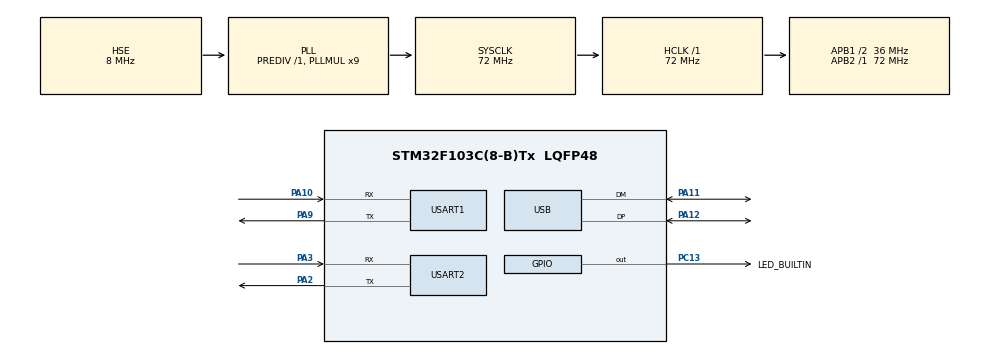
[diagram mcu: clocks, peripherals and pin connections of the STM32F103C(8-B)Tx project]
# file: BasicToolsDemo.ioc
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Dma.Request0=USART1_TX
Dma.Request1=USART1_RX
Dma.Request2=USART2_TX
Dma.Request3=USART2_RX
Dma.USART1_RX.1.Direction=DMA_PERIPH_TO_MEMORY
Dma.USART1_RX.1.Instance=DMA1_Channel5
Dma.USART1_RX.1.MemDataAlignment=DMA_MDATAALIGN_BYTE
Dma.USART1_RX.1.MemInc=DMA_MINC_ENABLE
Dma.USART1_RX.1.Mode=DMA_CIRCULAR
Dma.USART1_RX.1.PeriphDataAlignment=DMA_PDATAALIGN_BYTE
Dma.USART1_RX.1.PeriphInc=DMA_PINC_DISABLE
Dma.USART1_RX.1.Priority=DMA_PRIORITY_LOW
Dma.USART1_TX.0.Direction=DMA_MEMORY_TO_PERIPH
Dma.USART1_TX.0.Instance=DMA1_Channel4
Dma.USART1_TX.0.MemDataAlignment=DMA_MDATAALIGN_BYTE
Dma.USART1_TX.0.MemInc=DMA_MINC_ENABLE
Dma.USART1_TX.0.Mode=DMA_CIRCULAR
Dma.USART1_TX.0.PeriphDataAlignment=DMA_PDATAALIGN_BYTE
Dma.USART1_TX.0.PeriphInc=DMA_PINC_DISABLE
Dma.USART1_TX.0.Priority=DMA_PRIORITY_LOW
Dma.USART2_RX.3.Direction=DMA_PERIPH_TO_MEMORY
Dma.USART2_RX.3.Instance=DMA1_Channel6
Dma.USART2_RX.3.MemDataAlignment=DMA_MDATAALIGN_BYTE
Dma.USART2_RX.3.MemInc=DMA_MINC_ENABLE
Dma.USART2_RX.3.Mode=DMA_CIRCULAR
Dma.USART2_RX.3.PeriphDataAlignment=DMA_PDATAALIGN_BYTE
Dma.USART2_RX.3.PeriphInc=DMA_PINC_DISABLE
Dma.USART2_RX.3.Priority=DMA_PRIORITY_LOW
Dma.USART2_TX.2.Direction=DMA_MEMORY_TO_PERIPH
Dma.USART2_TX.2.Instance=DMA1_Channel7
Dma.USART2_TX.2.MemDataAlignment=DMA_MDATAALIGN_BYTE
Dma.USART2_TX.2.MemInc=DMA_MINC_ENABLE
Dma.USART2_TX.2.Mode=DMA_CIRCULAR
Dma.USART2_TX.2.PeriphDataAlignment=DMA_PDATAALIGN_BYTE
Dma.USART2_TX.2.PeriphInc=DMA_PINC_DISABLE
Dma.USART2_TX.2.Priority=DMA_PRIORITY_LOW
Mcu.Family=STM32F1
Mcu.Name=STM32F103C(8-B)Tx
Mcu.Package=LQFP48
NVIC.DMA1_Channel4_IRQn=true\:0\:0\:false\:false\:true\:false\:true\:true
NVIC.DMA1_Channel5_IRQn=true\:0\:0\:false\:false\:true\:false\:true\:true
NVIC.DMA1_Channel6_IRQn=true\:0\:0\:false\:false\:true\:false\:true\:true
NVIC.DMA1_Channel7_IRQn=true\:0\:0\:false\:false\:true\:false\:true\:true
NVIC.PriorityGroup=NVIC_PRIORITYGROUP_4
NVIC.TIM1_CC_IRQn=true\:0\:0\:false\:false\:true\:true\:true\:true
NVIC.TIM1_UP_IRQn=true\:0\:0\:false\:false\:true\:true\:true\:true
NVIC.USART1_IRQn=true\:0\:0\:false\:false\:true\:true\:true\:true
NVIC.USART2_IRQn=true\:0\:0\:false\:false\:true\:true\:true\:true
NVIC.USB_LP_CAN1_RX0_IRQn=true\:0\:0\:false\:false\:true\:false\:true\:true
PA10.Mode=Asynchronous
PA10.Signal=USART1_RX
PA11.Mode=Device
PA11.Signal=USB_DM
PA12.Mode=Device
PA12.Signal=USB_DP
PA13.Mode=Serial_Wire
PA13.Signal=SYS_JTMS-SWDIO
PA14.Mode=Serial_Wire
PA14.Signal=SYS_JTCK-SWCLK
PA2.Mode=Asynchronous
PA2.Signal=USART2_TX
PA3.Mode=Asynchronous
PA3.Signal=USART2_RX
PA9.Mode=Asynchronous
PA9.Signal=USART1_TX
PC13-TAMPER-RTC.GPIO_Label=LED_BUILTIN
PC13-TAMPER-RTC.Signal=GPIO_Output
PD0-OSC_IN.Mode=HSE-External-Oscillator
PD0-OSC_IN.Signal=RCC_OSC_IN
PD1-OSC_OUT.Mode=HSE-External-Oscillator
PD1-OSC_OUT.Signal=RCC_OSC_OUT
ProjectManager.HeapSize=0x200
ProjectManager.StackSize=0x400
ProjectManager.TargetToolchain=STM32CubeIDE
RCC.AHBFreq_Value=72000000
RCC.APB1CLKDivider=RCC_HCLK_DIV2
RCC.APB1Freq_Value=36000000
RCC.APB1TimFreq_Value=72000000
RCC.APB2Freq_Value=72000000
RCC.APB2TimFreq_Value=72000000
RCC.HCLKFreq_Value=72000000
RCC.PLLMUL=RCC_PLL_MUL9
RCC.PLLSourceVirtual=RCC_PLLSOURCE_HSE
RCC.SYSCLKFreq_VALUE=72000000
RCC.SYSCLKSource=RCC_SYSCLKSOURCE_PLLCLK
RCC.USBFreq_Value=48000000
RCC.USBPrescaler=RCC_USBCLKSOURCE_PLL_DIV1_5
TIM1.Channel-Output\ Compare1\ No\ Output=TIM_CHANNEL_1
TIM1.Period=1200-1
TIM1.Prescaler=3-1
TIM1.RepetitionCounter=20-1
USART1.VirtualMode=VM_ASYNC
USART2.VirtualMode=VM_ASYNC
USB_DEVICE.CLASS_NAME_FS=CDC
USB_DEVICE.VirtualMode=Cdc
USB_DEVICE.VirtualModeFS=Cdc_FS
VP_TIM1_VS_ClockSourceINT.Mode=Internal
VP_TIM1_VS_no_output1.Mode=Output Compare1 No Output
VP_USB_DEVICE_VS_USB_DEVICE_CDC_FS.Mode=CDC_FS
board=custom

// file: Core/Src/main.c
/* USER CODE BEGIN Header */
/**
  ******************************************************************************
  * @file           : main.c
  * @brief          : Main program body
  ******************************************************************************
  * @attention
  *
  * Copyright (c) 2025 STMicroelectronics.
  * All rights reserved.
  *
  * This software is licensed under terms that can be found in the LICENSE file
  * in the root directory of this software component.
  * If no LICENSE file comes with this software, it is provided AS-IS.
  *
  ******************************************************************************
  */
/* USER CODE END Header */
#include "main.h"
#include "usb_device.h"

/* USER CODE BEGIN Includes */
#include "usbd_cdc_if.h"
#include "usbd_def.h"
#include <stdio.h>
#include <stdarg.h>
#include "string.h"
#include "BasicTools.h"
/* USER CODE END Includes */

/* USER CODE BEGIN PD */
#define MAX_BUFFER_SIZE 512
/* USER CODE END PD */

TIM_HandleTypeDef htim1;

UART_HandleTypeDef huart1;
UART_HandleTypeDef huart2;
DMA_HandleTypeDef hdma_usart1_tx;
DMA_HandleTypeDef hdma_usart1_rx;
DMA_HandleTypeDef hdma_usart2_tx;
DMA_HandleTypeDef hdma_usart2_rx;

/* USER CODE BEGIN PV */
// USB CDC
//    Extern needed
extern USBD_HandleTypeDef hUsbDeviceFS;
//    Buffers needed
uint8_t usb_cdc_tx_data[USB_CDC_BUFFER_SIZE];           // Circular buffer for TX data
uint8_t usb_cdc_rx_buffer[USB_CDC_BUFFER_SIZE];         // Buffer for RX data
uint8_t usb_cdc_tx_buffer[USB_CDC_TX_PACKET_SIZE];      // Buffer for USB packet transmission

// UART1 buffers
uint8_t uart1_rx_buf[UART1_RX_DMA_SIZE];
uint8_t uart1_tx_buf[UART1_TX_DMA_SIZE];
uint8_t uart1_data_buffer[UART1_TX_Buffer_SIZE];

// UART2 buffers
uint8_t uart2_rx_buf[UART2_RX_DMA_SIZE];
uint8_t uart2_tx_buf[UART2_TX_DMA_SIZE];
uint8_t uart2_data_buffer[UART2_TX_Buffer_SIZE];
uint32_t Led_Blink_Delay = 1000;
/* USER CODE END PV */

void SystemClock_Config(void);
static void MX_GPIO_Init(void);
static void MX_DMA_Init(void);
static void MX_TIM1_Init(void);
static void MX_USART1_UART_Init(void);
static void MX_USART2_UART_Init(void);

/* USER CODE BEGIN 0 */
void InitializeUARTs(void)
{
  // UART1 Setup
  UART_Register(&huart1,
               uart1_rx_buf, UART1_RX_DMA_SIZE,
               uart1_tx_buf, uart1_data_buffer,
               UART1_TX_DMA_SIZE, UART1_TX_Buffer_SIZE);
  HAL_UART_Receive_DMA(&huart1, uart1_rx_buf, UART1_RX_DMA_SIZE);	// Once started, will keep listening into buffer

  // UART2 Setup
  UART_Register(&huart2,
               uart2_rx_buf, UART2_RX_DMA_SIZE,
               uart2_tx_buf, uart2_data_buffer,
               UART2_TX_DMA_SIZE, UART2_TX_Buffer_SIZE);
  HAL_UART_Receive_DMA(&huart2, uart2_rx_buf, UART2_RX_DMA_SIZE);	// Once started, will keep listening into buffer

  // USB CDC UART Setup
  USB_CDC_Init(&hUsbDeviceFS, usb_cdc_tx_data, USB_CDC_BUFFER_SIZE,
              usb_cdc_rx_buffer, USB_CDC_BUFFER_SIZE, usb_cdc_tx_buffer);
}
/* USER CODE END 0 */

int main(void)
{

  /* MCU Configuration--------------------------------------------------------*/

  /* Reset of all peripherals, Initializes the Flash interface and the Systick. */
  HAL_Init();

  /* Configure the system clock */
  SystemClock_Config();

  /* Initialize all configured peripherals */
  MX_GPIO_Init();
  MX_DMA_Init();
  MX_TIM1_Init();
  MX_USART1_UART_Init();
  MX_USB_DEVICE_Init();
  MX_USART2_UART_Init();
  /* USER CODE BEGIN 2 */
  HAL_TIM_Base_Start_IT(&htim1);									// 1ms interrupt
  HAL_TIM_OC_Start_IT(&htim1,TIM_CHANNEL_1);						// 50us interrupt
  InitializeUARTs();
  SerialPrintf(&huart1,"%d :Hello World\r\n", millis());
  SerialPrintf(&huart2,"%d :Hello World\r\n", micros());
  /* USER CODE END 2 */

  /* Infinite loop */
  /* USER CODE BEGIN WHILE */
  /* Initialize variables for USB communication */
  uint16_t usb_incoming_byte_count = 0;

  /* Initialize variables for UART1 communication with receive timeout */
  uint16_t uart1_incoming_byte_count = 0;
  uint32_t uart1_rx_time_elapsed = 0;
  uint16_t uart1_last_count = 0;

  /* Calculated UART idle timeout (time for 2 bytes at 115200 baud) */
  const uint32_t UART_IDLE_TIMEOUT_US = 1000000 * 20 / huart1.Init.BaudRate; /* ~173 microseconds for 115200*/

  while (1)
  {
    /* ---- USB CDC Serial Handling ---- */
	usb_incoming_byte_count = USBSerialAvailable();
	if(usb_incoming_byte_count)
	{
	  uint8_t incoming_data[MAX_BUFFER_SIZE] = {0};

	  /* Read USB data and echo timestamp with data */
	  USBSerialPrintf("%dus -> %d byte received", micros(), usb_incoming_byte_count);
	  USBSerialReadBuf(incoming_data, usb_incoming_byte_count);

	  /* Forward USB data to UART1 with timestamp */
	  SerialPrintf(&huart1, "%dus -> ", micros());
	  SerialWriteBuf(&huart1, incoming_data, usb_incoming_byte_count);

	  /* Forward USB data to UART2 with timestamp */
	  SerialPrintf(&huart2, "%dms -> ", millis());
	  SerialWriteBuf(&huart2, incoming_data, usb_incoming_byte_count);
	}

	/* ---- UART1 Serial Handling with Timeout ---- */
	uart1_incoming_byte_count = SerialAvailable(&huart1);
	if(uart1_incoming_byte_count)
	{
	  if(uart1_rx_time_elapsed)
	  {
	    /* Check if we've waited long enough for complete message */
	    if(micros() > (uart1_rx_time_elapsed + UART_IDLE_TIMEOUT_US))
	    {
	      uint8_t incoming_data[MAX_BUFFER_SIZE] = {0};

	      /* Read UART1 data and echo timestamp with data */
	      SerialPrintf(&huart1, "%dus -> %d byte received", micros(), uart1_incoming_byte_count);
	      SerialReadBuf(&huart1, incoming_data, uart1_incoming_byte_count);

	      /* Forward UART1 data to USB with timestamp */
	      USBSerialPrintf("%dus -> ", micros());
	      USBSerialWriteBuf(incoming_data, uart1_incoming_byte_count);

	      /* Forward UART1 data to UART2 with timestamp */
	      SerialPrintf(&huart2, "%dms -> ", millis());
	      SerialWriteBuf(&huart2, incoming_data, uart1_incoming_byte_count);

	      /* Reset timeout after processing */
	      uart1_rx_time_elapsed = 0;
	    }
	    else
	    {
	      /* If data is still arriving, reset the timeout */
	      if(uart1_last_count != uart1_incoming_byte_count)
	      {
	        uart1_rx_time_elapsed = micros();
	        uart1_last_count = uart1_incoming_byte_count;
	      }
	    }
	  }
	  else
	  {
	    /* First byte received, start the timeout */
	    uart1_rx_time_elapsed = micros();
	    uart1_last_count = uart1_incoming_byte_count;
	  }
	}
    /* USER CODE END WHILE */

  }
}

void SystemClock_Config(void)
{
  RCC_OscInitTypeDef RCC_OscInitStruct = {0};
  RCC_ClkInitTypeDef RCC_ClkInitStruct = {0};
  RCC_PeriphCLKInitTypeDef PeriphClkInit = {0};

  /** Initializes the RCC Oscillators according to the specified parameters
  * in the RCC_OscInitTypeDef structure.
  */
  RCC_OscInitStruct.OscillatorType = RCC_OSCILLATORTYPE_HSE;
  RCC_OscInitStruct.HSEState = RCC_HSE_ON;
  RCC_OscInitStruct.HSEPredivValue = RCC_HSE_PREDIV_DIV1;
  RCC_OscInitStruct.HSIState = RCC_HSI_ON;
  RCC_OscInitStruct.PLL.PLLState = RCC_PLL_ON;
  RCC_OscInitStruct.PLL.PLLSource = RCC_PLLSOURCE_HSE;
  RCC_OscInitStruct.PLL.PLLMUL = RCC_PLL_MUL9;
  if (HAL_RCC_OscConfig(&RCC_OscInitStruct) != HAL_OK)
  {
    Error_Handler();
  }

  /** Initializes the CPU, AHB and APB buses clocks
  */
  RCC_ClkInitStruct.ClockType = RCC_CLOCKTYPE_HCLK|RCC_CLOCKTYPE_SYSCLK
                              |RCC_CLOCKTYPE_PCLK1|RCC_CLOCKTYPE_PCLK2;
  RCC_ClkInitStruct.SYSCLKSource = RCC_SYSCLKSOURCE_PLLCLK;
  RCC_ClkInitStruct.AHBCLKDivider = RCC_SYSCLK_DIV1;
  RCC_ClkInitStruct.APB1CLKDivider = RCC_HCLK_DIV2;
  RCC_ClkInitStruct.APB2CLKDivider = RCC_HCLK_DIV1;

  if (HAL_RCC_ClockConfig(&RCC_ClkInitStruct, FLASH_LATENCY_2) != HAL_OK)
  {
    Error_Handler();
  }
  PeriphClkInit.PeriphClockSelection = RCC_PERIPHCLK_USB;
  PeriphClkInit.UsbClockSelection = RCC_USBCLKSOURCE_PLL_DIV1_5;
  if (HAL_RCCEx_PeriphCLKConfig(&PeriphClkInit) != HAL_OK)
  {
    Error_Handler();
  }
}

static void MX_TIM1_Init(void)
{

  TIM_ClockConfigTypeDef sClockSourceConfig = {0};
  TIM_MasterConfigTypeDef sMasterConfig = {0};
  TIM_OC_InitTypeDef sConfigOC = {0};
  TIM_BreakDeadTimeConfigTypeDef sBreakDeadTimeConfig = {0};

  htim1.Instance = TIM1;
  htim1.Init.Prescaler = 3-1;
  htim1.Init.CounterMode = TIM_COUNTERMODE_UP;
  htim1.Init.Period = 1200-1;
  htim1.Init.ClockDivision = TIM_CLOCKDIVISION_DIV1;
  htim1.Init.RepetitionCounter = 20-1;
  htim1.Init.AutoReloadPreload = TIM_AUTORELOAD_PRELOAD_DISABLE;
  if (HAL_TIM_Base_Init(&htim1) != HAL_OK)
  {
    Error_Handler();
  }
  sClockSourceConfig.ClockSource = TIM_CLOCKSOURCE_INTERNAL;
  if (HAL_TIM_ConfigClockSource(&htim1, &sClockSourceConfig) != HAL_OK)
  {
    Error_Handler();
  }
  if (HAL_TIM_OC_Init(&htim1) != HAL_OK)
  {
    Error_Handler();
  }
  sMasterConfig.MasterOutputTrigger = TIM_TRGO_RESET;
  sMasterConfig.MasterSlaveMode = TIM_MASTERSLAVEMODE_DISABLE;
  if (HAL_TIMEx_MasterConfigSynchronization(&htim1, &sMasterConfig) != HAL_OK)
  {
    Error_Handler();
  }
  sConfigOC.OCMode = TIM_OCMODE_TIMING;
  sConfigOC.Pulse = 0;
  sConfigOC.OCPolarity = TIM_OCPOLARITY_HIGH;
  sConfigOC.OCNPolarity = TIM_OCNPOLARITY_HIGH;
  sConfigOC.OCFastMode = TIM_OCFAST_DISABLE;
  sConfigOC.OCIdleState = TIM_OCIDLESTATE_RESET;
  sConfigOC.OCNIdleState = TIM_OCNIDLESTATE_RESET;
  if (HAL_TIM_OC_ConfigChannel(&htim1, &sConfigOC, TIM_CHANNEL_1) != HAL_OK)
  {
    Error_Handler();
  }
  sBreakDeadTimeConfig.OffStateRunMode = TIM_OSSR_DISABLE;
  sBreakDeadTimeConfig.OffStateIDLEMode = TIM_OSSI_DISABLE;
  sBreakDeadTimeConfig.LockLevel = TIM_LOCKLEVEL_OFF;
  sBreakDeadTimeConfig.DeadTime = 0;
  sBreakDeadTimeConfig.BreakState = TIM_BREAK_DISABLE;
  sBreakDeadTimeConfig.BreakPolarity = TIM_BREAKPOLARITY_HIGH;
  sBreakDeadTimeConfig.AutomaticOutput = TIM_AUTOMATICOUTPUT_DISABLE;
  if (HAL_TIMEx_ConfigBreakDeadTime(&htim1, &sBreakDeadTimeConfig) != HAL_OK)
  {
    Error_Handler();
  }

}

static void MX_USART1_UART_Init(void)
{

  huart1.Instance = USART1;
  huart1.Init.BaudRate = 115200;
  huart1.Init.WordLength = UART_WORDLENGTH_8B;
  huart1.Init.StopBits = UART_STOPBITS_1;
  huart1.Init.Parity = UART_PARITY_NONE;
  huart1.Init.Mode = UART_MODE_TX_RX;
  huart1.Init.HwFlowCtl = UART_HWCONTROL_NONE;
  huart1.Init.OverSampling = UART_OVERSAMPLING_16;
  if (HAL_UART_Init(&huart1) != HAL_OK)
  {
    Error_Handler();
  }

}

static void MX_USART2_UART_Init(void)
{

  huart2.Instance = USART2;
  huart2.Init.BaudRate = 115200;
  huart2.Init.WordLength = UART_WORDLENGTH_8B;
  huart2.Init.StopBits = UART_STOPBITS_1;
  huart2.Init.Parity = UART_PARITY_NONE;
  huart2.Init.Mode = UART_MODE_TX_RX;
  huart2.Init.HwFlowCtl = UART_HWCONTROL_NONE;
  huart2.Init.OverSampling = UART_OVERSAMPLING_16;
  if (HAL_UART_Init(&huart2) != HAL_OK)
  {
    Error_Handler();
  }

}

static void MX_DMA_Init(void)
{

  /* DMA controller clock enable */
  __HAL_RCC_DMA1_CLK_ENABLE();

  /* DMA interrupt init */
  /* DMA1_Channel4_IRQn interrupt configuration */
  HAL_NVIC_SetPriority(DMA1_Channel4_IRQn, 0, 0);
  HAL_NVIC_EnableIRQ(DMA1_Channel4_IRQn);
  /* DMA1_Channel5_IRQn interrupt configuration */
  HAL_NVIC_SetPriority(DMA1_Channel5_IRQn, 0, 0);
  HAL_NVIC_EnableIRQ(DMA1_Channel5_IRQn);
  /* DMA1_Channel6_IRQn interrupt configuration */
  HAL_NVIC_SetPriority(DMA1_Channel6_IRQn, 0, 0);
  HAL_NVIC_EnableIRQ(DMA1_Channel6_IRQn);
  /* DMA1_Channel7_IRQn interrupt configuration */
  HAL_NVIC_SetPriority(DMA1_Channel7_IRQn, 0, 0);
  HAL_NVIC_EnableIRQ(DMA1_Channel7_IRQn);

}

static void MX_GPIO_Init(void)
{
  GPIO_InitTypeDef GPIO_InitStruct = {0};

  /* GPIO Ports Clock Enable */
  __HAL_RCC_GPIOC_CLK_ENABLE();
  __HAL_RCC_GPIOD_CLK_ENABLE();
  __HAL_RCC_GPIOA_CLK_ENABLE();

  /*Configure GPIO pin Output Level */
  HAL_GPIO_WritePin(LED_BUILTIN_GPIO_Port, LED_BUILTIN_Pin, GPIO_PIN_RESET);

  /*Configure GPIO pin : LED_BUILTIN_Pin */
  GPIO_InitStruct.Pin = LED_BUILTIN_Pin;
  GPIO_InitStruct.Mode = GPIO_MODE_OUTPUT_PP;
  GPIO_InitStruct.Pull = GPIO_NOPULL;
  GPIO_InitStruct.Speed = GPIO_SPEED_FREQ_LOW;
  HAL_GPIO_Init(LED_BUILTIN_GPIO_Port, &GPIO_InitStruct);

}

/* USER CODE BEGIN 4 */
void HAL_TIM_PeriodElapsedCallback(TIM_HandleTypeDef *htim)
{
  if (htim == &htim1 ) // Trigger every (Check IOC Timer1 setting)
  {					   // 3*1200*20/72000000 = 1ms
	Led_Blink_Delay -= 1;
	if(Led_Blink_Delay == 0)
	{
		Led_Blink_Delay = 1000;
		HAL_GPIO_TogglePin(LED_BUILTIN_GPIO_Port, LED_BUILTIN_Pin);
		//UARTprintf(&huart1, "Waiting for USB Serial input at micros() = %d; millis() = %d;\r\n" ,micros(),HAL_GetTick());
	}
  }
}

void HAL_TIM_OC_DelayElapsedCallback(TIM_HandleTypeDef *htim)
{
	if (htim == &htim1 )
	{
		if(htim->Channel == HAL_TIM_ACTIVE_CHANNEL_1)	// Activated every 50us.
		{   											// 3*1200/72000000 = 50us
			USB_CDC_TimerCallback();
		}
	}
}

// In your DMA handler callbacks in stm32f1xx_it.c:
void HAL_UART_TxCpltCallback(UART_HandleTypeDef *huart)
{
    Handle_Uart_TX_DMA_Complete(huart);
}

void HAL_UART_TxHalfCpltCallback(UART_HandleTypeDef *huart)
{
    Handle_Uart_TX_DMA_HalfComplete(huart);
}
/* USER CODE END 4 */

void Error_Handler(void)
{
  __disable_irq();
  while (1)
  {
  }
}
